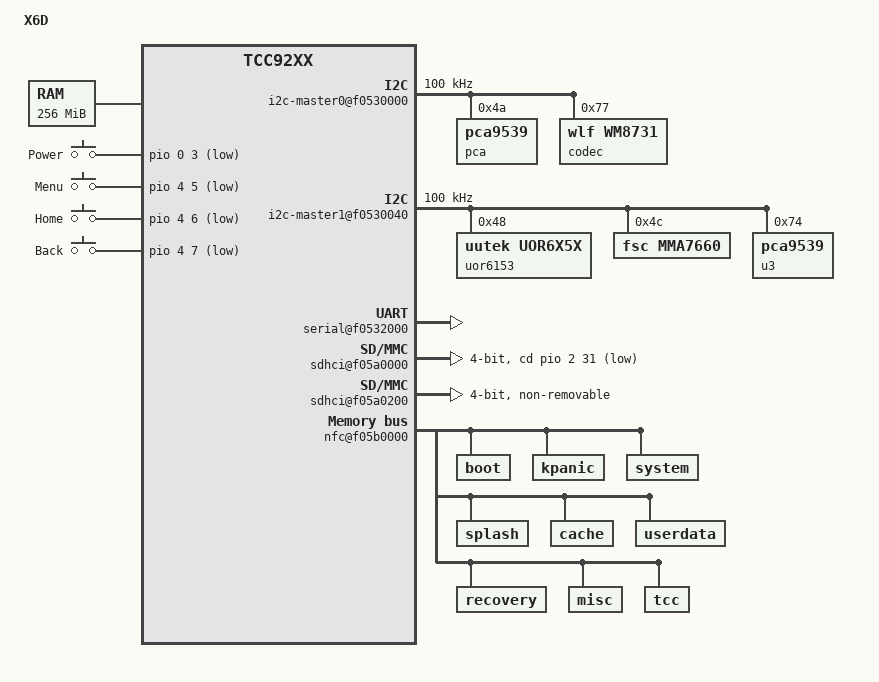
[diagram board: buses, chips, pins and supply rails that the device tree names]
/dts-v1/;

/include/ "tcc92xx.dtsi"

/ {
        model = "X6D";
        compatible = "hsg,x6d", "tcc,tcc92xx";

	chosen {
		linux,stdout-path = &uart0;
		bootargs = "mem=256M console=ttyS0,115200n8 debug";
	};

        memory {
                device_type = "memory";
                reg = <0x40000000 0x10000000>; /* 256MB */
        };

	smu_pmu {
		pinctrl@f0102000 {
			touch_pin: touch_pin@0 {
				tcc,pins = "PC29";
                                tcc,function = "gpio";
                                tcc,pull = <2>;
			};

			sdhcip1: sdhci_port1@0 {
				tcc,pins = "PF18", "PF19", "PF20", "PF21", "PF22";
				tcc,function = "sd1";
			};
			sdhci1clk: sdhci_port1_clk@0 {
				tcc,pins = "PF23";
				tcc,function = "sd1";
				tcc,drive = <3>;
			};
			sdhcip3: sdhci_port3@0 {
				tcc,pins = "PF0", "PF1", "PF2", "PF3", "PF8";
				tcc,function = "sd3";
			};
			sdhci3clk: sdhci_port3_clk@0 {
				tcc,pins = "PF9";
				tcc,function = "sd3";
				tcc,drive = <1>;
			};
		};
	};

        iobus {
		i2c-master0@f0530000 {
			clock-frequency = <100000>;
			#address-cells = <1>;
			#size-cells = <0>;
			status = "okay";

			pca@4a {
				compatible = "pca9539";
				reg = <0x4a>;
			};
			codec: codec@77 {
				compatible = "wlf,wm8731";
				reg = <0x77>;
			};
		};
		i2c-master1@f0530040 {
			clock-frequency = <100000>;
			#address-cells = <1>;
			#size-cells = <0>;
			status = "okay";

			uor6153@48 {
				compatible = "uutek,uor6x5x";
				reg = <0x48>;
				interrupts = <3 0x4>; /* EINT0 */
				pinctrl-names = "default";
				pinctrl-0 = <&touch_pin>;
			};
			mma7660@4c {
				compatible = "fsc,mma7660";
				reg = <0x4c>;
			};
			u3: pca@74 {
				compatible = "pca9539";
				reg = <0x74>;
			};
                };

                serial@f0532000 {
			clock-frequency = <48000000>;
                        status = "okay";
                };

		sdhci@f05a0000 {
			pinctrl-names = "default";
			pinctrl-0 = <&sdhcip1>, <&sdhci1clk>;
			tcc,power-gpios = <&u3 7>;
			cd-gpios = <&pio 2 31 0>;
			cd-inverted;
			bus-width = <4>;
			tcc,port = <1>;
			status = "okay";
		};
		sdhci@f05a0200 {
			pinctrl-names = "default";
			pinctrl-0 = <&sdhcip3>, <&sdhci3clk>;
			tcc,power-gpios = <&pio 5 10 0>;
                        non-removable;
                        bus-width = <4>;
			tcc,port = <3>;
			status = "okay";
		};

		nfc@f05b0000 {
			nand-bus-width = <8>;
			nand-ecc-mode = "none";

			boot@1c00000 {
				label = "boot";
				reg = <0x1c00000 0x1400000>;
			};
			kpanic@3000000 {
				label = "kpanic";
				reg = <0x3000000 0xa00000>;
			};
			system@3a00000 {
				label = "system";
				reg = <0x3a00000 0x12c00000>;
			};
			splash@16600000 {
				label = "splash";
				reg = <0x16600000 0x800000>;
			};
			cache@16e00000 {
				label = "cache";
				reg = <0x16e00000 0x5000000>;
			};
			userdata@1be00000 {
				label = "userdata";
				reg = <0x1be00000 0x24600000>;
			};
			recovery@40400000 {
				label = "recovery";
				reg = <0x40400000 0x1400000>;
			};
			misc@41800000 {
				label = "misc";
				reg = <0x41800000 0x200000>;
			};
			tcc@41a00000 {
				label = "tcc";
				reg = <0x41a00000 0x200000>;
			};
		};
	};

	gpio-keys {
		compatible = "gpio-keys-polled";
		#gpio-cells = <2>;
		poll-interval = <100>; /* ms */

		power {
			label = "Power";
			gpios = <&pio 0 3 1>; /* A3 */
			linux,code = <116>; /* KEY_POWER */
		};
		menu {
			label = "Menu";
			gpios = <&pio 4 5 1>; /* E5 */
			linux,code = <139>; /* KEY_MENU */
		};
		home {
			label = "Home";
			gpios = <&pio 4 6 1>; /* E6 */
			linux,code = <102>; /* KEY_HOME */
		};
		back {
			label = "Back";
			gpios = <&pio 4 7 1>; /* E7 */
			linux,code = <158>; /* KEY_BACK */
		};
	};
};
